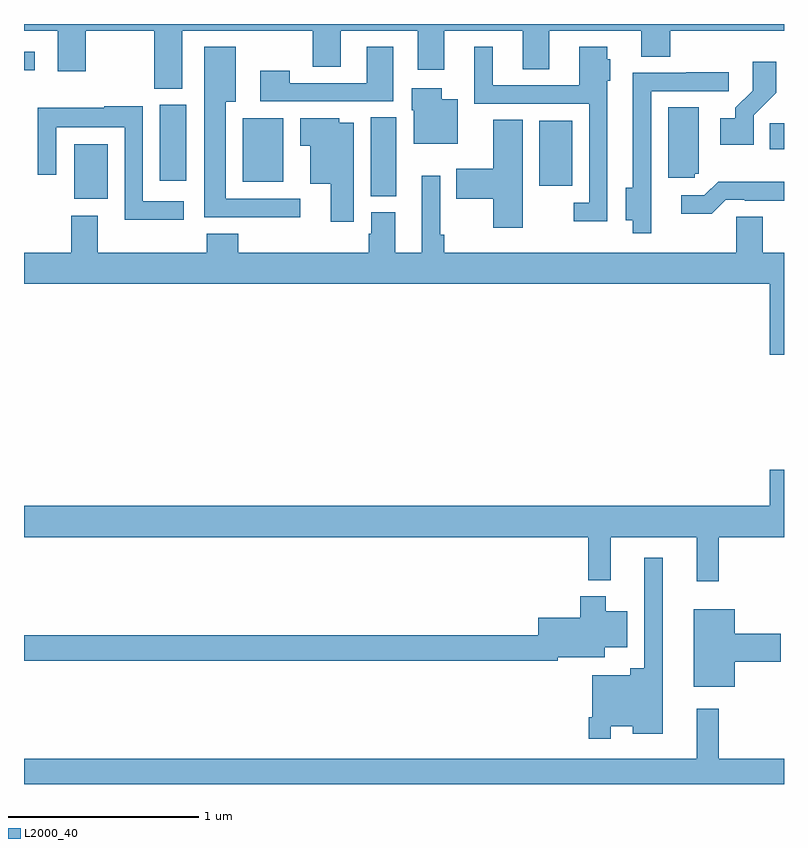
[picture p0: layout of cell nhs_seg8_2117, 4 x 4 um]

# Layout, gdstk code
import gdstk
lib = gdstk.Library(unit=1e-6, precision=1e-09)
def R(c, l, rs):  # rectangles x0, y0, x1, y1
    for r in rs: c.add(gdstk.rectangle(r[:2], r[2:], *l))
def P(c, l, *ps):  # polygons
    for p in ps: c.add(gdstk.Polygon(p, *l))
L2000_40 = (2000, 40)

nhs_seg8_2117 = lib.new_cell('nhs_seg8_2117')
R(nhs_seg8_2117, L2000_40, [(245.264,1084.979,245.44,1085.266), (246.824,1084.993,246.958,1085.408), (247.712,1085.048,247.885,1085.392), (246.152,1085.069,246.364,1085.404), (245.714,1085.076,245.854,1085.475), (248.926,1085.24,249,1085.378), (245,1085.657,245.056,1085.754)])
P(nhs_seg8_2117, L2000_40, [(245.833,1085.864),(246.52,1085.864),(246.52,1085.674),(246.667,1085.674),(246.667,1085.864),(247.073,1085.864),(247.073,1085.658),(247.213,1085.658),(247.213,1085.864),(247.625,1085.864),(247.625,1085.662),(247.765,1085.662),(247.765,1085.864),(248.249,1085.864),(248.249,1085.728),(248.402,1085.728),(248.402,1085.864),(249,1085.864),(249,1085.9),(245,1085.9),(245,1085.864),(245.177,1085.864),(245.177,1085.652),(245.325,1085.652),(245.325,1085.864),(245.686,1085.864),(245.686,1085.56),(245.833,1085.56)],
  [(246.454,1084.98),(246.061,1084.98),(246.061,1085.492),(246.115,1085.492),(246.115,1085.779),(245.948,1085.779),(245.948,1084.883),(246.454,1084.883)],
  [(246.943,1085.779),(246.803,1085.779),(246.803,1085.589),(246.399,1085.589),(246.399,1085.653),(246.243,1085.653),(246.243,1085.493),(246.943,1085.493)],
  [(248.07,1085.122),(248.071,1085.122),(248.071,1085.601),(248.086,1085.601),(248.086,1085.715),(248.071,1085.715),(248.071,1085.779),(247.922,1085.779),(247.922,1085.577),(247.468,1085.577),(247.468,1085.779),(247.37,1085.779),(247.37,1085.481),(247.974,1085.481),(247.974,1084.959),(247.893,1084.959),(247.893,1084.862),(248.07,1084.862)],
  [(248.841,1085.419),(248.96,1085.538),(248.96,1085.701),(248.835,1085.701),(248.835,1085.549),(248.744,1085.459),(248.744,1085.404),(248.664,1085.404),(248.664,1085.264),(248.841,1085.264)],
  [(248.302,1085.022),(248.301,1085.022),(248.301,1085.547),(248.71,1085.547),(248.71,1085.646),(248.485,1085.646),(248.485,1085.643),(248.204,1085.643),(248.204,1085.039),(248.168,1085.039),(248.168,1084.868),(248.204,1084.868),(248.204,1084.8),(248.302,1084.8)],
  [(247.282,1085.503),(247.198,1085.503),(247.198,1085.563),(247.04,1085.563),(247.04,1085.445),(247.052,1085.445),(247.052,1085.27),(247.282,1085.27)],
  [(245.842,1084.968),(245.625,1084.968),(245.625,1085.468),(245.422,1085.468),(245.422,1085.458),(245.073,1085.458),(245.073,1085.106),(245.169,1085.106),(245.169,1085.357),(245.529,1085.357),(245.529,1084.871),(245.842,1084.871)],
  [(248.529,1085.112),(248.551,1085.112),(248.551,1085.461),(248.39,1085.461),(248.39,1085.091),(248.529,1085.091)],
  [(246.736,1085.38),(246.66,1085.38),(246.66,1085.404),(246.455,1085.404),(246.455,1085.258),(246.506,1085.258),(246.506,1085.06),(246.614,1085.06),(246.614,1084.86),(246.736,1084.86)],
  [(247.624,1085.396),(247.469,1085.396),(247.469,1085.137),(247.276,1085.137),(247.276,1084.979),(247.469,1084.979),(247.469,1084.827),(247.624,1084.827)],
  [(249,1084.696),(248.887,1084.696),(248.887,1084.886),(248.748,1084.886),(248.748,1084.696),(247.211,1084.696),(247.211,1084.792),(247.191,1084.792),(247.191,1085.101),(247.094,1085.101),(247.094,1084.696),(246.955,1084.696),(246.955,1084.908),(246.827,1084.908),(246.827,1084.797),(246.815,1084.797),(246.815,1084.696),(246.128,1084.696),(246.128,1084.795),(245.963,1084.795),(245.963,1084.696),(245.389,1084.696),(245.389,1084.891),(245.249,1084.891),(245.249,1084.696),(245,1084.696),(245,1084.532),(248.924,1084.532),(248.924,1084.158),(249,1084.158)],
  [(248.694,1084.974),(248.794,1084.974),(248.794,1084.971),(249,1084.971),(249,1085.071),(248.653,1085.071),(248.58,1084.998),(248.46,1084.998),(248.46,1084.901),(248.621,1084.901)],
  [(248.657,1083.2),(249,1083.2),(249,1083.553),(248.924,1083.553),(248.924,1083.364),(245,1083.364),(245,1083.2),(247.969,1083.2),(247.969,1082.972),(248.087,1082.972),(248.087,1083.2),(248.54,1083.2),(248.54,1082.967),(248.657,1082.967)],
  [(248.088,1082.204),(248.204,1082.204),(248.204,1082.165),(248.362,1082.165),(248.362,1083.091),(248.265,1083.091),(248.265,1082.509),(248.192,1082.509),(248.192,1082.473),(247.992,1082.473),(247.992,1082.251),(247.972,1082.251),(247.972,1082.139),(248.088,1082.139)],
  [(247.81,1082.567),(248.056,1082.567),(248.056,1082.621),(248.176,1082.621),(248.176,1082.809),(248.062,1082.809),(248.062,1082.887),(247.928,1082.887),(247.928,1082.776),(247.706,1082.776),(247.706,1082.684),(245,1082.684),(245,1082.548),(247.81,1082.548)],
  [(248.74,1082.543),(248.983,1082.543),(248.983,1082.69),(248.74,1082.69),(248.74,1082.821),(248.525,1082.821),(248.525,1082.411),(248.74,1082.411)],
  [(249,1082.032),(248.657,1082.032),(248.657,1082.296),(248.54,1082.296),(248.54,1082.032),(245,1082.032),(245,1081.9),(249,1081.9)])

lib.write_gds('nhs_seg8_2117.gds')
